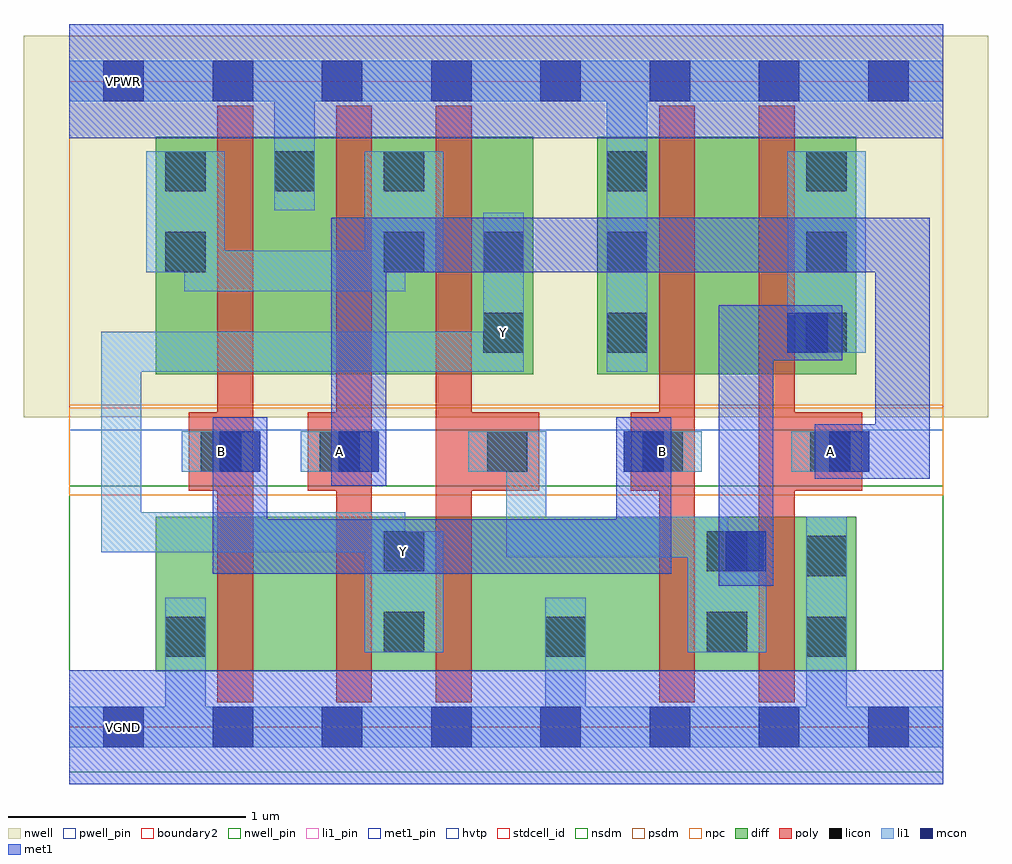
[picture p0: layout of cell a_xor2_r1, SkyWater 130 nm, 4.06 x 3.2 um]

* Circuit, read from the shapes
.subckt a_xor2_r1 A B VGND VNB VPB VPWR Y
XM1 n1 B VGND VNB sky130_fd_pr__nfet_01v8 w=0.65 l=0.15
XM2 Y A n1 VNB sky130_fd_pr__nfet_01v8 w=0.65 l=0.15
XM3 VGND n2 Y VNB sky130_fd_pr__nfet_01v8 w=0.65 l=0.15
XM4 n2 B VGND VNB sky130_fd_pr__nfet_01v8 w=0.65 l=0.15
XM5 VGND A n2 VNB sky130_fd_pr__nfet_01v8 w=0.65 l=0.15
XM6 VPWR B n3 VPB sky130_fd_pr__pfet_01v8_hvt w=1 l=0.15
XM7 n3 A VPWR VPB sky130_fd_pr__pfet_01v8_hvt w=1 l=0.15
XM8 Y n2 n3 VPB sky130_fd_pr__pfet_01v8_hvt w=1 l=0.15
XM9 n4 B VPWR VPB sky130_fd_pr__pfet_01v8_hvt w=1 l=0.15
XM10 n2 A n4 VPB sky130_fd_pr__pfet_01v8_hvt w=1 l=0.15
.ends

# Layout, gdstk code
import gdstk
lib = gdstk.Library(unit=1e-6, precision=1e-09)
def R(c, l, rs):  # rectangles x0, y0, x1, y1
    for r in rs: c.add(gdstk.rectangle(r[:2], r[2:], *l))
def A(c, l, x, y, w, h, nx, ny, dx, dy):  # array of equal rectangles
    R(c, l, [(x+i*dx, y+j*dy, x+i*dx+w, y+j*dy+h) for i in range(nx) for j in range(ny)])
nwell_pin = (64, 16)
nwell = (64, 20)
diff = (65, 20)
poly = (66, 20)
licon = (66, 44)
li1_pin = (67, 16)
li1 = (67, 20)
mcon = (67, 44)
met1_pin = (68, 16)
met1 = (68, 20)
hvtp = (78, 44)
stdcell_id = (81, 4)
nsdm = (93, 44)
psdm = (94, 20)
npc = (95, 20)
pwell_pin = (122, 16)
boundary2 = (236, 0)

a_xor2_r1 = lib.new_cell('a_xor2_r1')
R(a_xor2_r1, nwell_pin, [(0.145,2.635,0.315,2.805)])
R(a_xor2_r1, nwell, [(-0.19,1.305,3.87,2.91)])
R(a_xor2_r1, diff, [(0.365,0.235,0.95,0.885), (0.95,0.235,1.41,0.885), (1.41,0.235,2.09,0.885), (2.09,0.235,2.77,0.885), (2.77,0.235,3.315,0.885), (0.365,1.485,0.95,2.485), (0.95,1.485,1.41,2.485), (1.41,1.485,1.955,2.485), (2.225,1.485,2.77,2.485), (2.77,1.485,3.315,2.485)])
R(a_xor2_r1, poly, [(0.625,0.105,0.775,2.615), (1.125,0.105,1.275,2.615), (1.545,0.105,1.695,2.615), (2.485,0.105,2.635,2.615), (2.905,0.105,3.055,2.615), (0.505,0.995,0.775,1.325), (1.005,0.995,1.275,1.325), (1.545,0.995,1.98,1.325), (2.365,0.995,2.635,1.325), (2.905,0.995,3.34,1.325)])
A(a_xor2_r1, licon, 2.265, 1.575, 0.17, 0.17, 1, 3, 0, 0.34)
A(a_xor2_r1, licon, 3.105, 1.575, 0.17, 0.17, 1, 3, 0, 0.34)
A(a_xor2_r1, licon, 0.405, 2.255, 0.17, 0.17, 3, 1, 0.46, 0)
R(a_xor2_r1, licon, [(0.405,0.295,0.575,0.465), (2.005,0.295,2.175,0.465), (3.105,0.295,3.275,0.465), (1.325,0.315,1.495,0.485), (2.685,0.315,2.855,0.485), (3.105,0.635,3.275,0.805), (1.325,0.655,1.495,0.825), (2.685,0.655,2.855,0.825), (0.555,1.075,0.725,1.245), (1.055,1.075,1.225,1.245), (1.76,1.075,1.93,1.245), (2.415,1.075,2.585,1.245), (3.12,1.075,3.29,1.245), (1.745,1.575,1.915,1.745), (0.405,1.915,0.575,2.085), (1.325,1.915,1.495,2.085), (1.745,1.915,1.915,2.085)])
R(a_xor2_r1, li1_pin, [(1.325,0.655,1.495,0.825), (0.555,1.075,0.725,1.245), (1.055,1.075,1.225,1.245), (2.415,1.075,2.585,1.245), (3.12,1.075,3.29,1.245), (1.745,1.575,1.915,1.745)])
R(a_xor2_r1, li1, [(0,-0.085,3.68,0.085), (0.405,-0.085,0.575,0.545), (2.005,-0.085,2.175,0.545), (3.105,-0.085,3.275,0.545), (3.105,0.295,3.275,0.885), (1.245,0.315,1.575,0.825), (2.605,0.315,2.935,0.825), (1.245,0.655,1.575,0.825), (1.245,0.655,1.415,0.905), (2.605,0.655,2.935,0.825), (2.605,0.655,2.775,0.885), (1.84,0.715,2.01,1.245), (1.84,0.715,2.775,0.885), (0.135,0.735,1.415,0.905), (0.135,0.735,0.305,1.665), (0.475,1.075,0.805,1.245), (0.975,1.075,1.305,1.245), (1.68,1.075,2.01,1.245), (2.335,1.075,2.665,1.245), (3.04,1.075,3.37,1.245), (0.135,1.495,1.915,1.665), (1.745,1.495,1.915,1.825), (2.265,1.495,2.435,2.085), (1.745,1.575,1.915,2.165), (3.025,1.575,3.355,1.745), (3.025,1.575,3.355,2.085), (0.485,1.835,0.655,2.425), (0.485,1.835,1.415,2.005), (1.245,1.835,1.415,2.425), (2.265,1.835,2.435,2.425), (0.325,1.915,0.655,2.425), (1.245,1.915,1.575,2.425), (3.025,1.915,3.355,2.425), (2.265,2.085,2.435,2.175), (2.265,2.085,2.435,2.175), (2.265,2.085,2.435,2.175), (2.265,2.085,2.435,2.175), (0.865,2.175,1.035,2.805), (2.265,2.175,2.435,2.805), (0.325,2.255,0.655,2.425), (1.245,2.255,1.575,2.425), (0,2.635,3.68,2.805)])
A(a_xor2_r1, mcon, 0.145, -0.085, 0.17, 0.17, 8, 2, 0.46, 2.72)
R(a_xor2_r1, mcon, [(2.765,0.655,2.935,0.825), (0.635,1.075,0.805,1.245), (1.135,1.075,1.305,1.245), (2.335,1.075,2.505,1.245), (3.2,1.075,3.37,1.245), (3.025,1.575,3.195,1.745)])
R(a_xor2_r1, met1_pin, [(0.145,-0.085,0.315,0.085), (0.145,2.635,0.315,2.805)])
R(a_xor2_r1, met1, [(0,-0.24,3.68,0.24), (2.735,0.595,2.965,0.885), (2.735,0.625,2.965,1.775), (0.605,0.645,0.835,1.275), (0.605,0.645,2.535,0.875), (2.305,0.645,2.535,1.275), (0.605,1.015,0.835,1.305), (1.105,1.015,1.335,1.305), (2.305,1.015,2.535,1.305), (1.105,1.045,1.335,2.145), (3.14,1.045,3.43,1.275), (3.17,1.045,3.625,1.275), (3.395,1.045,3.625,2.145), (2.735,1.545,3.225,1.775), (2.965,1.545,3.255,1.775), (1.105,1.915,3.625,2.145), (0,2.48,3.68,2.96)])
R(a_xor2_r1, hvtp, [(0,1.25,3.68,2.72)])
R(a_xor2_r1, stdcell_id, [(0,0,3.68,2.72)])
R(a_xor2_r1, nsdm, [(0,-0.19,3.68,1.015)])
R(a_xor2_r1, psdm, [(0,1.355,3.68,2.91)])
R(a_xor2_r1, npc, [(0,0.975,3.68,1.345)])
R(a_xor2_r1, pwell_pin, [(0.145,-0.085,0.315,0.085)])
R(a_xor2_r1, boundary2, [(0,0,3.68,2.72)])
a_xor2_r1.add(gdstk.Label('A', (1.14,1.16), layer=67, texttype=5))
a_xor2_r1.add(gdstk.Label('A', (3.205,1.16), layer=67, texttype=5))
a_xor2_r1.add(gdstk.Label('B', (0.64,1.16), layer=67, texttype=5))
a_xor2_r1.add(gdstk.Label('B', (2.5,1.16), layer=67, texttype=5))
a_xor2_r1.add(gdstk.Label('Y', (1.41,0.74), layer=67, texttype=5))
a_xor2_r1.add(gdstk.Label('Y', (1.83,1.66), layer=67, texttype=5))
a_xor2_r1.add(gdstk.Label('VGND', (0.23,0), layer=68, texttype=5))
a_xor2_r1.add(gdstk.Label('VPWR', (0.23,2.72), layer=68, texttype=5))
a_xor2_r1.add(gdstk.Label('VPB', (0.23,2.72), layer=64, texttype=5))
a_xor2_r1.add(gdstk.Label('VNB', (0.23,0), layer=64, texttype=59))

lib.write_gds('a_xor2_r1.gds')
